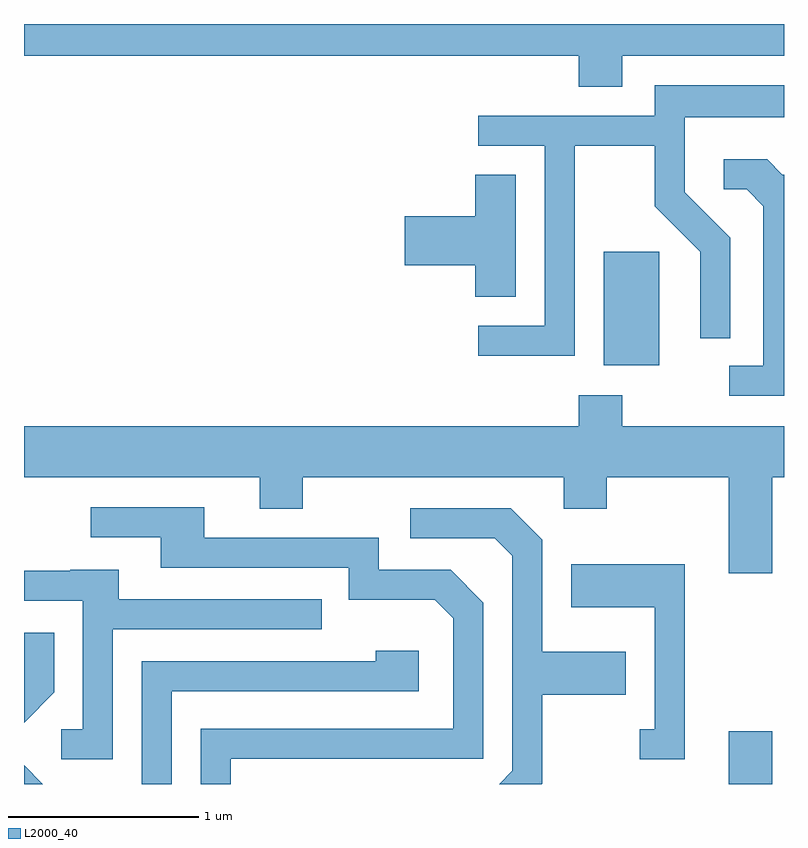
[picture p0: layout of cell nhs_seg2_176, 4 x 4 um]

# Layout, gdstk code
import gdstk
lib = gdstk.Library(unit=1e-6, precision=1e-09)
def R(c, l, rs):  # rectangles x0, y0, x1, y1
    for r in rs: c.add(gdstk.rectangle(r[:2], r[2:], *l))
def P(c, l, *ps):  # polygons
    for p in ps: c.add(gdstk.Polygon(p, *l))
L2000_40 = (2000, 40)

nhs_seg2_176 = lib.new_cell('nhs_seg2_176')
R(nhs_seg2_176, L2000_40, [(193.321,1057.802,193.549,1058.079), (192.661,1060.006,192.954,1060.604)])
P(nhs_seg2_176, L2000_40, [(192.759,1061.636),(193.611,1061.636),(193.611,1061.802),(189.611,1061.802),(189.611,1061.636),(192.531,1061.636),(192.531,1061.471),(192.759,1061.471)],
  [(192.509,1061.161),(192.931,1061.161),(192.931,1060.844),(193.171,1060.604),(193.171,1060.148),(193.329,1060.148),(193.329,1060.677),(193.089,1060.917),(193.089,1061.311),(193.611,1061.311),(193.611,1061.479),(192.931,1061.479),(192.931,1061.319),(192.003,1061.319),(192.003,1061.161),(192.351,1061.161),(192.351,1060.214),(192.003,1060.214),(192.003,1060.056),(192.509,1060.056)],
  [(193.611,1061.009),(193.602,1061.009),(193.522,1061.089),(193.293,1061.089),(193.293,1060.931),(193.414,1060.931),(193.501,1060.844),(193.501,1060.004),(193.323,1060.004),(193.323,1059.846),(193.611,1059.846)],
  [(192.199,1061.009),(191.986,1061.009),(191.986,1060.789),(191.616,1060.789),(191.616,1060.531),(191.986,1060.531),(191.986,1060.366),(192.199,1060.366)],
  [(193.549,1059.416),(193.611,1059.416),(193.611,1059.684),(192.759,1059.684),(192.759,1059.849),(192.531,1059.849),(192.531,1059.684),(189.611,1059.684),(189.611,1059.416),(190.851,1059.416),(190.851,1059.251),(191.079,1059.251),(191.079,1059.416),(192.451,1059.416),(192.451,1059.251),(192.679,1059.251),(192.679,1059.416),(193.321,1059.416),(193.321,1058.911),(193.549,1058.911)],
  [(190.699,1057.936),(192.029,1057.936),(192.029,1058.757),(191.857,1058.929),(191.479,1058.929),(191.479,1059.099),(190.559,1059.099),(190.559,1059.259),(189.963,1059.259),(189.963,1059.101),(190.331,1059.101),(190.331,1058.941),(191.321,1058.941),(191.321,1058.771),(191.774,1058.771),(191.871,1058.674),(191.871,1058.094),(190.541,1058.094),(190.541,1057.802),(190.699,1057.802)],
  [(192.339,1057.804),(192.339,1058.271),(192.779,1058.271),(192.779,1058.499),(192.339,1058.499),(192.339,1059.087),(192.172,1059.254),(191.643,1059.254),(191.643,1059.096),(192.089,1059.096),(192.181,1059.004),(192.181,1057.872),(192.112,1057.802),(192.337,1057.802)],
  [(193.089,1058.959),(192.491,1058.959),(192.491,1058.731),(192.931,1058.731),(192.931,1058.089),(192.853,1058.089),(192.853,1057.931),(193.089,1057.931)],
  [(190.079,1058.616),(191.178,1058.616),(191.178,1058.774),(190.109,1058.774),(190.109,1058.929),(189.855,1058.929),(189.855,1058.924),(189.611,1058.924),(189.611,1058.766),(189.921,1058.766),(189.921,1058.089),(189.808,1058.089),(189.808,1057.931),(190.079,1057.931)],
  [(189.769,1058.284),(189.769,1058.598),(189.611,1058.598),(189.611,1058.125)],
  [(190.389,1058.291),(191.689,1058.291),(191.689,1058.504),(191.461,1058.504),(191.461,1058.449),(190.231,1058.449),(190.231,1057.802),(190.389,1057.802)],
  [(189.611,1057.9),(189.611,1057.802),(189.709,1057.802)])

lib.write_gds('nhs_seg2_176.gds')
